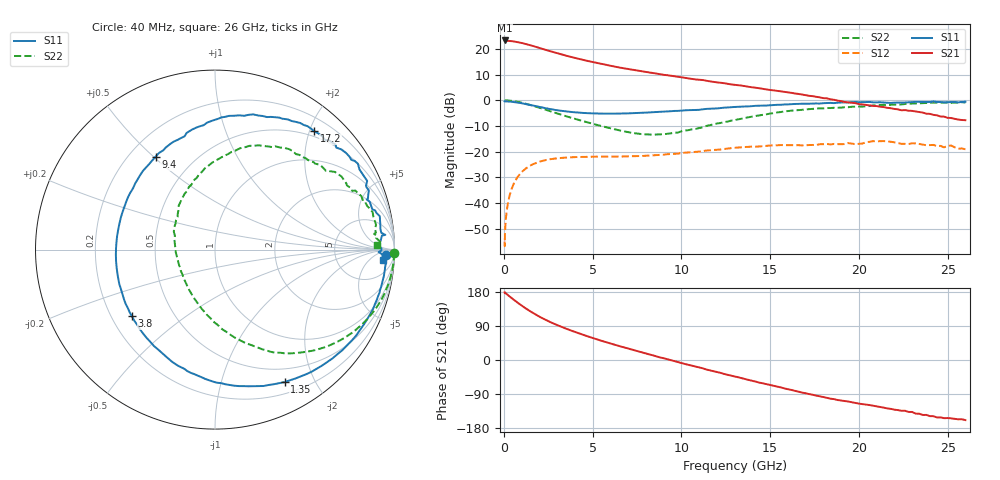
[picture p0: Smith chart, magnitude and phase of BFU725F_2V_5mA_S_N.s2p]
! Filename:  P:\Prog\Test\Noise\ATS_data\Testdata_Net\Split files Spar\BFU725F_CS1566_A2_2V_2mA_25mA_Bias2_D.s2p
! Date/Time: Mon 09/Aug/2010 10:50:37
! BFU725F_CS1566_A2_2V_2mA_25mA_Bias2_R.s2p
! MDIF S-parameter v. bias file
! BFU725F_CS1566_A2_2V_2mA_25mA
! Date/time Mon Jul 19 09:57:02 2010
! VAR V_out= 2.0000
! VAR I_out= 4.9950
! VAR V_in= 0.8023
! VAR I_in= 0.0144
! Device data file deembeded for feedlines and parallel
! Original file: \Split files Spar\BFU725F_CS1566_A2_2V_2mA_25mA_Bias2_R.s2p
! Feed-files: PR003V01_101208_Feed1.s2p, PR003V01_101208_Feed2.s2p
! Parallel-file: PR003V01_101208_Par.s2p
# MHz S MA R 50
!  Freq-MHz  S11-mag  S11-arg  S21-mag  S21-arg  S12-mag  S12-arg  S22-mag  S22-arg
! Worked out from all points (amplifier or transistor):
!   197 points, 40 MHz to 26 GHz, reference 50 ohm
!   highest |S21| = 23.3 dB at 50 MHz (marker M1)
!   |S21| within 3 dB of that: start of sweep to 2.052 GHz
!   unconditionally stable (mu >= 1): 6.863 GHz to 12.99 GHz
!   at 800 MHz: K = 0.10, MSG = 26.1 dB, |S12| = -29.6 dB
!   at 6.4 GHz: K = 0.94, MSG = 17.4 dB, |S12| = -21.9 dB
!   at 26 GHz: K = 0.38, MSG = 5.7 dB, |S12| = -19.0 dB
!   lowest NFmin = 0.38 dB at 400 MHz
!   S11 on the Smith chart (normalised r, x): 40 MHz: 28, -19; 1.35 GHz: 0.33, -1.60; 3.8 GHz: 0.28, -0.33; 9.4 GHz: 0.31, +0.51; 17.2 GHz: 0.41, +2.08; 26 GHz: 16, -16
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40  0.9525 -1.9  14.42 178.2  0.001783 87.4  0.9979 -1.2
50  0.9486 -3.1  14.6 176.4  0.00146 96.2  0.9979 -1.5
60  0.9506 -2.7  14.25 177.6  0.002592 95.4  0.9983 -1.8
240  0.9486 -11.8  14.33 170.8  0.01059 82.7  0.9924 -7.6
400  0.9412 -19.6  14.22 164.9  0.01747 78.1  0.9812 -12.6
800  0.9038 -38.4  13.5 150.4  0.03319 66.7  0.9326 -24.5
1050  0.8727 -49.5  12.93 142.0  0.04175 60.2  0.8925 -31.4
1350  0.8337 -62.3  12.17 132.5  0.05044 52.9  0.8382 -39.1
1850  0.7658 -81.9  10.85 118.2  0.06145 42.5  0.7446 -50.4
2500  0.6859 -104.4  9.249 102.5  0.07073 31.8  0.6299 -63.0
3100  0.6358 -122.4  8.055 90.2  0.0751 23.9  0.5425 -72.5
3800  0.5935 -141.2  6.954 77.5  0.0782 17.1  0.4578 -82.9
4400  0.5699 -155.8  6.191 67.5  0.07961 12.4  0.3992 -91.5
6200  0.5506 168.2  4.56 40.9  0.0806 3.7  0.2756 -119.3
8800  0.5977 129.7  3.217 6.7  0.08721 -1.5  0.2192 -176.4
9400  0.6144 122.6  3.012 -0.4  0.0903 -2.7  0.2281 170.0
11400  0.6807 100.8  2.409 -25.0  0.1056 -8.7  0.3174 129.6
13200  0.7491 84.0  1.959 -45.5  0.121 -18.8  0.4274 102.1
17200  0.8603 50.1  1.225 -90.0  0.1351 -45.4  0.6748 57.4
17400  0.8668 48.2  1.204 -91.7  0.1356 -47.2  0.6851 55.9
21800  0.8902 18.3  0.7022 -128.9  0.1564 -83.0  0.8173 26.0
26000  0.9402 -3.6  0.4108 -158.6  0.1118 -105.2  0.9029 1.4
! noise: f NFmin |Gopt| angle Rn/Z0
400  0.38  0.601  2.85  0.1619
900  0.416  0.5503  13.26  0.1586
1600  0.467  0.4909  27.49  0.1506
2300  0.52  0.4391  41.49  0.1395
3500  0.612  0.3604  66.24  0.1163
4800  0.717  0.2933  96.89  0.0906
7400  0.938  0.2717  168.2  0.0627
1.02e+04  1.195  0.376  -133  0.1187
1.3e+04  1.472  0.5224  -91.5  0.3284
1.6e+04  1.791  0.6355  -61.38  0.7985
